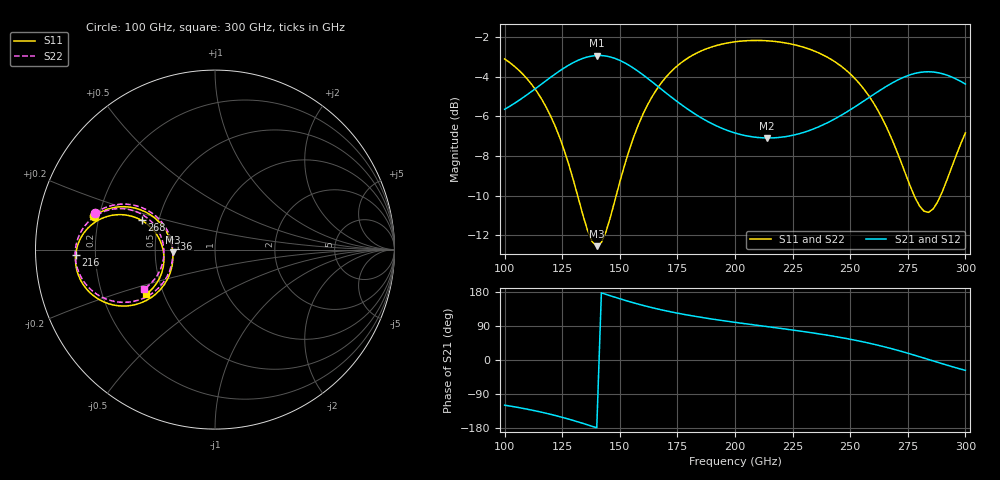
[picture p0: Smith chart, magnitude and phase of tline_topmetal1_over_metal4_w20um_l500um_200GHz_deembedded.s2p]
! Created with skrf 2.0.1 (http://scikit-rf.org).
# GHz S DB R 50.0
!freq dBS11 angS11 dBS21 angS21 dBS12 angS12 dBS22 angS22
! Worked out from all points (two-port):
!   101 points, 100 GHz to 300 GHz, reference 50 ohm
!   highest |S21| = -2.92 dB at 140 GHz (marker M1); lowest = -7.1 dB at 214 GHz (marker M2)
!   |S21| within 3 dB of the highest: start of sweep to 183.2 GHz; 246.4 GHz to end of sweep
!   lowest |S11| = -12.6 dB at 140 GHz (marker M3), VSWR 1.62, Z = 31 - j1.01 ohm
!   |S11| at or under -10 dB: 131.7 GHz to 148.4 GHz (16.76 GHz wide, 12 % of centre); 277.8 GHz to 289.2 GHz (11.47 GHz wide, 4.05 % of centre)
!   |S22| runs from -12.6 to -2.2 dB; largest |S21 - S12| = 3.7e-16
!   S11 on the Smith chart (normalised r, x): 100 GHz: 0.18, +0.13; 136 GHz: 0.59, +0.07; 216 GHz: 0.13, -0.02; 268 GHz: 0.40, +0.16; 300 GHz: 0.40, -0.25
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100  -3.09 164.6  -5.64 -119.2  -5.64 -119.2  -3.10 163.2
112  -4.42 156.9  -4.71 -132.5  -4.71 -132.5  -4.42 155.3
120  -5.99 152.6  -4.02 -143.4  -4.02 -143.4  -5.99 150.9
126  -7.76 151.7  -3.54 -153.0  -3.54 -153.0  -7.76 149.8
134  -10.99 160.9  -3.06 -167.3  -3.06 -167.3  -11.00 159.0
136  -11.77 166.9  -2.99 -171.1  -2.99 -171.1  -11.78 165.0
140  -12.56 -176.3  -2.92 -178.9  -2.92 -178.9  -12.58 -178.2
144  -11.84 -159.1  -2.95 173.2  -2.95 173.2  -11.85 -161.1
154  -7.73 -143.1  -3.41 154.3  -3.41 154.3  -7.74 -145.2
160  -5.90 -144.2  -3.89 144.2  -3.89 144.2  -5.91 -146.4
168  -4.31 -148.9  -4.62 132.5  -4.62 132.5  -4.31 -151.3
184  -2.76 -159.7  -5.98 113.9  -5.98 113.9  -2.76 -162.3
200  -2.23 -169.2  -6.84 99.4  -6.84 99.4  -2.23 -172.0
214  -2.18 -176.8  -7.09 88.1  -7.09 88.1  -2.18 -179.8
216  -2.19 -177.8  -7.09 86.5  -7.09 86.5  -2.20 179.1
234  -2.67 172.6  -6.64 71.2  -6.64 71.2  -2.68 169.3
254  -4.34 161.7  -5.37 49.9  -5.37 49.9  -4.35 158.1
268  -7.12 158.3  -4.32 29.8  -4.32 29.8  -7.15 154.4
278  -10.07 169.7  -3.83 12.5  -3.83 12.5  -10.11 165.7
284  -10.85 -172.9  -3.74 1.3  -3.74 1.3  -10.91 -176.8
292  -9.21 -152.9  -3.91 -13.5  -3.91 -13.5  -9.25 -156.8
300  -6.83 -147.0  -4.36 -27.3  -4.36 -27.3  -6.86 -151.0
